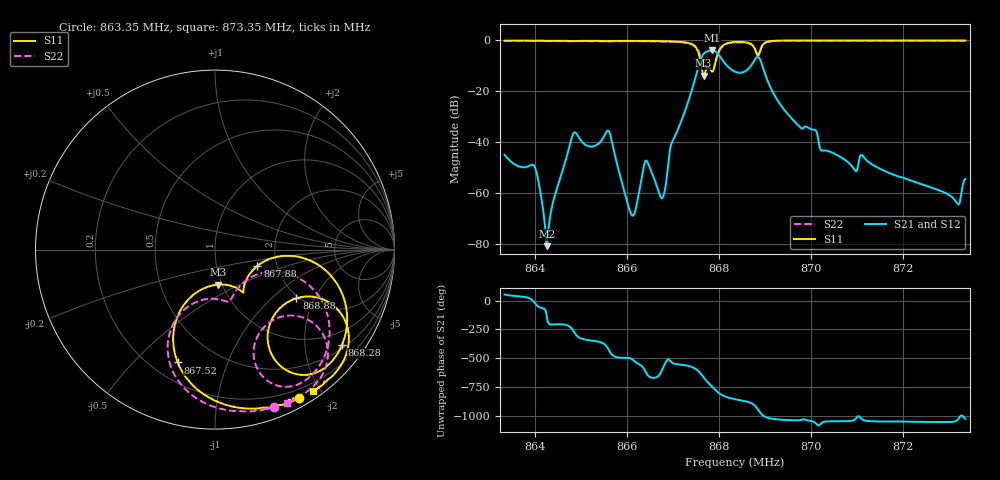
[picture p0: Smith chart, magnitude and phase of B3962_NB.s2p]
! Matrix data file written by TouchstoneData, EPCOS AG
! FILENAME: "B3962/LU83A_NB.s2p"
! COMMENT: "PINNING 1/4; PORTEX 1=103PS; 2=189.5PS;  6 O"
! INFO: nport=2, nfreq=1601
! DATE: "Tue Oct  6 17:00:34 2009"
! USER: "Aleksander Breg"
! port | pin | signal
!  1  |  1  |  IN
!  2  |  4  |  OUT
# MHZ S MA R 50
! freq  magS11 angS11  magS21 angS21  magS12 angS12  magS22 angS22
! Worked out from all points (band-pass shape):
!   1601 points, 863.35 MHz to 873.35 MHz, reference 50 ohm
!   highest |S21| = -4.20 dB at 867.86 MHz (marker M1); lowest = -80.9 dB at 864.27 MHz (marker M2)
!   |S21| within 3 dB of the highest: 867.6186 MHz to 868.0457 MHz (427.1 kHz wide, 0.0492 % of centre); 868.8059 MHz to 868.8765 MHz (70.57 kHz wide, 0.00812 % of centre)
!   lowest |S11| = -14.2 dB at 867.67 MHz (marker M3), VSWR 1.49, Z = 48 - j19.5 ohm
!   |S11| at or under -10 dB: 867.6178 MHz to 867.9106 MHz (292.8 kHz wide, 0.0337 % of centre)
!   |S22| runs from -12.3 to -0.5 dB; largest |S21 - S12| = 0.0047
!   S11 on the Smith chart (normalised r, x): 863.35 MHz: 0.10, -1.71; 867.52 MHz: 0.30, -0.68; 867.88 MHz: 1.58, -0.31; 868.28 MHz: 0.59, -2.89; 868.88 MHz: 1.94, -1.46; 873.35 MHz: 0.10, -1.91
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863.35  0.9512 -60.5  0.005554 52.6  0.005516 53.1  0.9362 -69.5
864  0.9499 -61.4  0.003265 -17.7  0.003243 -17.3  0.9345 -70.3
864.2688  0.951 -61.6  9.002e-05 -148.0  9.414e-05 -151.5  0.9363 -70.6
864.8125  0.9375 -62.5  0.01243 114.0  0.01236 114.3  0.924 -71.4
865.0188  0.9483 -62.3  0.0102 29.9  0.01015 30.3  0.9332 -71.2
865.6125  0.9325 -63.7  0.01603 -69.7  0.01594 -69.3  0.9193 -72.4
866.1187  0.9447 -65.8  0.0003581 -149.7  0.0003575 -148.8  0.9308 -74.3
866.4125  0.9359 -67.5  0.004244 100.1  0.004211 100.5  0.9244 -75.9
866.6875  0.9331 -70.0  0.001099 66.0  0.001096 66.4  0.922 -78.0
866.8  0.9288 -71.4  0.000888 147.7  0.0008839 148.3  0.9183 -79.3
866.975  0.9184 -74.0  0.009333 -176.4  0.009287 -175.9  0.9097 -81.7
867.5188  0.6621 -108.3  0.2241 120.8  0.2244 121.0  0.6907 -111.1
867.6688  0.1959 -84.5  0.5272 53.0  0.5262 53.1  0.2789 -99.0
867.8563  0.2363 -35.2  0.6169 -27.7  0.6145 -27.6  0.2426 -49.4
867.8813  0.2532 -21.0  0.6143 -37.8  0.6112 -37.8  0.2582 -35.1
868.2812  0.8849 -36.9  0.2548 -130.1  0.2525 -129.7  0.8698 -48.0
868.35  0.8963 -40.6  0.2357 -136.1  0.2336 -135.7  0.8808 -51.5
868.875  0.5282 -30.9  0.4388 119.8  0.4358 120.1  0.5422 -42.8
870.0188  0.9604 -50.0  0.01745 32.3  0.0173 32.9  0.9429 -60.0
871.6875  0.9614 -53.8  0.002473 30.2  0.002445 30.8  0.9446 -63.4
873.1812  0.96 -55.2  0.0006066 45.3  0.0005972 45.4  0.9435 -64.7
873.35  0.9597 -55.3  0.00187 52.7  0.001854 53.2  0.9429 -64.8
